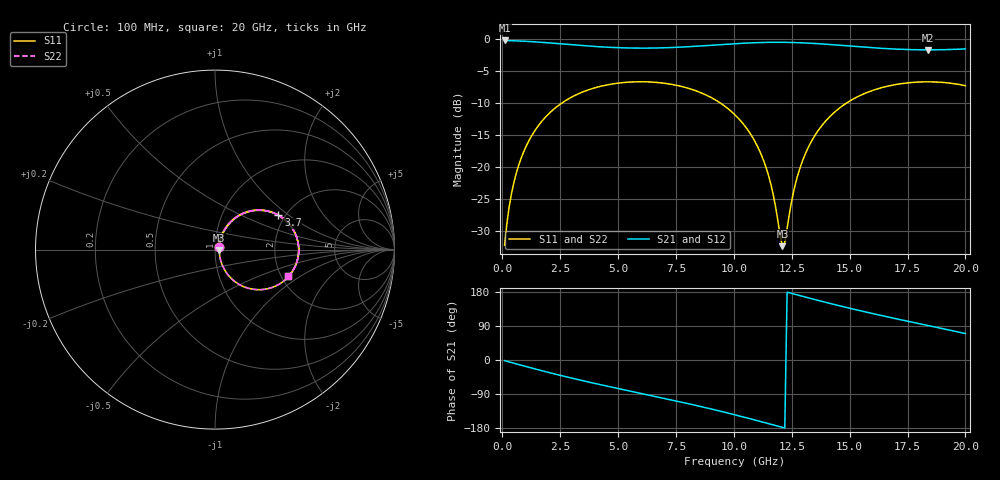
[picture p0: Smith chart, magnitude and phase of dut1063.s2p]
! Touchstone file exported from HFSS 2026.1.0
!  File:  C:/ffzhzh/LocalFiles/Ansys_Project_Files/temp_train_TSV_RDL_1063_1783298330_38820.aedt
!  Generated:  08:50:38 AM Jul  6, 2026
!  Design:  TSV_RDL
!  Project:  temp_train_TSV_RDL_1063_1783298330_38820
! Variables:
!  h_bsmrdl = 4.87um
!  h_ox = 20um
!  h_rdl = 5um
!  h_sub = 74.62um
!  h_tmrdl = 3.93um
!  h_tsv = 74.62um
!  h_via = 3um
!  l_bsmrdl = 992.84um
!  l_sub = 5000.63um
!  l_tmrdl = 375.73um
!  m_sub = 200um
!  pitch = 41.63um
!  r_tsv = 10.33um
!  s_tmrdl = 10um
!  w_bsmrdl = 18.78um
!  w_sub = 500um
!  w_tmrdl = 20.95um
!  x_tsv_center1 = 386.205um
!  x_tsv_center2 = 1397.825um
!  x_tsv_center3 = 1794.505um
!  x_tsv_center4 = 2806.125um
!  x_tsv_center5 = 3202.805um
!  x_tsv_center6 = 4214.425um
# GHz S MA R 50.000000
! Terminal data exported
! Port[1] = TM_RDL1_1_T1
! Port[2] = TM_RDL5_1_T1
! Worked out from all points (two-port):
!   200 points, 100 MHz to 20 GHz, reference 50 ohm
!   highest |S21| = -0.17 dB at 100 MHz (marker M1); lowest = -1.6 dB at 18.4 GHz (marker M2)
!   |S21| within 3 dB of the highest: start of sweep to end of sweep
!   lowest |S11| = -32.3 dB at 12.1 GHz (marker M3), VSWR 1.05, Z = 52.5 - j0.37 ohm
!   |S11| at or under -10 dB: start of sweep to 2.548 GHz; 9.442 GHz to 14.84 GHz (5.402 GHz wide, 44.5 % of centre)
!   |S22| runs from -32.4 to -6.6 dB; largest |S21 - S12| = 2.5e-14
!   S11 on the Smith chart (normalised r, x): 100 MHz: 1.04, +0.03; 3.7 GHz: 1.84, +0.85; 20 GHz: 2.18, -0.80
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0.1  0.02475 37.7  0.9808 -1.8  0.9808 -1.8  0.02475 37.7
! Gamma 0 0 0 0
! Port Impedance 50 0 50 0
0.3  0.04967 59.8  0.978 -5.2  0.978 -5.2  0.04967 59.8
0.5  0.07621 64.6  0.9753 -8.6  0.9753 -8.6  0.07621 64.6
1.1  0.1553 62.7  0.9642 -18.5  0.9642 -18.5  0.1553 62.7
2.1  0.2724 50.2  0.9364 -34.4  0.9364 -34.4  0.2724 50.2
3.5  0.3902 31.2  0.8928 -55.0  0.8928 -55.0  0.3902 31.2
3.7  0.4024 28.5  0.8874 -57.8  0.8874 -57.8  0.4024 28.5
5.3  0.4614 8.1  0.8579 -79.2  0.8579 -79.2  0.4614 8.1
6.8  0.4588 -10.6  0.8578 -98.7  0.8578 -98.7  0.4588 -10.6
8.6  0.3818 -33.6  0.8891 -123.2  0.8891 -123.2  0.3818 -33.6
10.1  0.2521 -53.3  0.9263 -145.5  0.9263 -145.5  0.2521 -53.4
10.8  0.1729 -61.5  0.9401 -156.6  0.9401 -156.6  0.1729 -61.6
11.3  0.1113 -64.9  0.9465 -164.7  0.9465 -164.7  0.1114 -65.0
11.7  0.06147 -60.7  0.949 -171.2  0.949 -171.2  0.06141 -61.0
12.1  0.02428 -8.3  0.9488 -177.8  0.9488 -177.8  0.02398 -8.6
12.2  0.02596 20.5  0.9484 -179.5  0.9484 -179.5  0.02564 20.7
12.7  0.07949 62.8  0.9437 172.4  0.9437 172.4  0.07934 63.0
13.4  0.1656 61.1  0.9311 161.0  0.9311 161.0  0.1656 61.2
14.7  0.3035 45.5  0.896 141.0  0.896 141.0  0.3035 45.6
16.7  0.4335 20.0  0.8447 112.9  0.8447 112.9  0.4335 20.0
18.4  0.4662 -0.7  0.8285 90.8  0.8285 90.8  0.4662 -0.7
20  0.4349 -20.1  0.8425 69.8  0.8425 69.8  0.4349 -20.1
